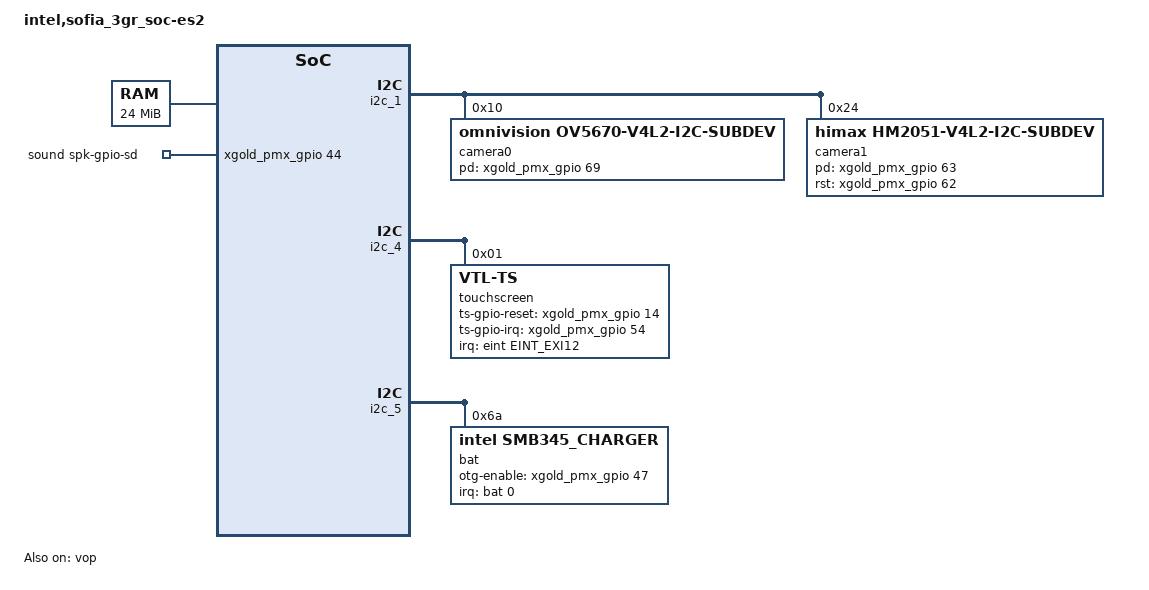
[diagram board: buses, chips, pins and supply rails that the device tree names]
/dts-v1/;
#include "xgold/sofia_3gr_soc/irq.h"
#include <dt-bindings/sofiafb/sofia_fb.h>
/ {
	#address-cells = <1>;
	#size-cells = <1>;
	model = "intel,sofia_3gr_soc-es2";
	compatible = "intel,sofia_3gr_soc-svb", "intel,xgold";

	#include "xgold/sofia_3gr_soc/sofia_3gr_soc_garnet.dtsi"
	#include "xgold/sofia_3gr_soc/irq.dtsi"
	#include "xgold/mobilevisor/mobilevisor.dtsi"
	#include "xgold/sofia_3gr_soc/clock-es1.dtsi"
	#include "xgold/sofia_3gr_soc/regulator.dtsi"
	#include "xgold/sofia_3gr_soc/device-pm-reg.dtsi"
	#include "xgold/pmic/granite.dtsi"
	#include "xgold/sofia_3gr_soc/cpufreq.dtsi"
	chosen {
	};

	aliases {
	};

	memory {
		device_type = "memory";
		reg = <0x800000 0x1800000>;
	};

	reserved-memory {
		#address-cells = <1>;
		#size-cells = <1>;
		ranges;

		/* global autoconfigured region for contiguous allocations */
		cma_default_region: region@0 {
			size = <0x08000000>;
			limit = <0x00000000>;
			linux,cma-default;
		};
		/* special region for secured processing devices */
		secured_region: region@8000000 {
			reg = <0x08000000 0x08000000>;
			no-map;
			linux,cma;
		};
	};

	vmodem {
		compatible = "intel,vmodem";
		reg = < 0x1D000000 0x02C00000 >;
	};

	ion {
		compatible = "rockchip,ion";
		#address-cells = < 1 >;
		#size-cells = < 0 >;
		rockchip,ion-heap@1 {
			compatible = "rockchip,ion-heap";
			rockchip,ion_heap = < 1 >;
			reg = < 0x00000000 0x08000000 >;
		};
		rockchip,ion-heap@3 {
			compatible = "rockchip,ion-heap";
			rockchip,ion_heap = < 3 >;
		};
	};

	backlight:agold620-backlight {
		compatible = "intel,agold620-led";
		reg = <0xE6501800 0x154
			0xE6401134 0x4>;
		reg-names = "pmu-bl", "cgu-bl";
		intel,flags-use-safe-ctrl;
		pm,class-name = "bl_class";
		pm,user-name = "bl";
		pm,state-D0 = "enable";
		pm,state-D3 = "disable";
		intel,led-k2 = <0xFF>;
		intel,led-k1max = <0xFB>;
		intel,led-k2max = <0xFFFF>;
		intel,led-up = <0x116>;
		intel,led-down = <0x200>;
		intel,led-safe = <0x12>;
		intel,bl-gpio-enable = <&xgold_pmx_gpio 71 0>;
		pinctrl-names = "default", "sleep", "inactive";
		pinctrl-0 = <&led_agold_default_pins>;
		pinctrl-1 = <&led_agold_sleep_pins>;
		pinctrl-2 = <&led_agold_inactive_pins>;
        };

#ifndef RECOVERY_KERNEL
	/*headset:headset {
		compatible = "intel,headset";
		#address-cells = < 0 >;
		reg = <0xE6501C00 0x4>;
		reg-names = "headset-registers";
		interrupts = < 0 1 >;
		interrupt-parent = < &headset>;
		#interrupt-cells = < 1 >;
		interrupt-map = <
			 0 &ag620_pmu ABB_PMU_ACD1 XGOLD_IRQ_TYPE_NONE
			 1 &ag620_pmu ABB_PMU_ACD2 XGOLD_IRQ_TYPE_NONE
			>;
		interrupt-names = "acd1", "acd2";
		io-channel-names = "ACCID_ADC";
		io-channels = < &meas 4 >;
	};*/
#endif
	fb {
		compatible = "rockchip,rockchip-fb";
		rockchip,disp-mode = <NO_DUAL>;
		rockchip,uboot-logo-on = <0>;
		rockchip,ion-drv = "rockchip";
	};

	screen {
		compatible = "rockchip,rockchip-screen";
		pm,class-name = "generic_class";
		pm,user-name = "lcd";
		pm,state-D0 = "enable";
		pm,state-D3 = "disable";
		#include "xgold/display/auo_b070atn02.dtsi"
	};

	graphics {
		compatible = "intel,graphics";
		intel,gpu-shared-mem = <0x20000000>;
		intel,dcc-fbpixelformat= "RGB888";
		intel,dcc-debug-level = <1>;
		intel,fb-api = <1>;
#ifdef RECOVERY_KERNEL
		intel,dcc-mem = < 0x00800000 >;
#else
		intel,dcc-use-fences = <1>;
		intel,dcc-mem = < 0x00400000 >;
		intel,prot-mem = < 0x08000000 0x08000000>;
#endif
	};


#ifndef RECOVERY_KERNEL
	sound {
		compatible = "intel,xgold-snd-asoc";
		intel,audio-codec = < &afe >;
		intel,pcm-audio = <&pcm_music>;
		intel,pcm-voice = <&pcm_voice>;
		intel,speech = <&speech_probe>;
		intel,jack = <&headset>;
		intel,spk-gpio-sd = <&xgold_pmx_gpio 44 0>;
	};
#endif
};

&idi_per {
	#define SOFIA_3GR_GARNET_EVB
	#include "xgold/agold620/agold620.dtsi"
};

&bat_hal {
	#define BAT_TYPE_LC 0
	#define POWER_SUPPLY_TECHNOLOGY_LION 2

	supp_batids =  < 0 BAT_TYPE_LC >;

	supp_batids-map = "standrd";

	prof-standrd = < POWER_SUPPLY_TECHNOLOGY_LION /*battery_type*/
				  1630 /*capacity*/
				  4250 /*voltage_max*/
				  82 /*chrg_term_ma*/
				  3200 /*low_batt_mv*/
				  60 /*disch_tmp_ul*/
				  0xffffffec /*disch_tmp_ll (-20)*/
				  0 /*min_temp*/
				  3 /*min_temp_restart*/
				  42 /*max_temp_restart*/ >;

	prof-standrd-cap_to_vbat_ocv = <
		3227 3386 3478 3542 3591 3628 3650 3660 3665 3668
		3671 3674 3676 3681 3687 3694 3699 3704 3709 3713
		3718 3722 3726 3729 3732 3735 3737 3740 3743 3746
		3748 3751 3753 3755 3756 3758 3760 3762 3764 3766
		3768 3770 3772 3775 3777 3779 3782 3785 3787 3790
		3793 3796 3800 3803 3806 3810 3813 3817 3821 3826
		3830 3835 3841 3847 3853 3860 3867 3874 3881 3888
		3895 3901 3908 3914 3920 3926 3933 3939 3945 3952
		3958 3964 3970 3975 3981 3987 3994 4002 4013 4025
		4036 4045 4053 4060 4067 4075 4083 4093 4102 4112
		4124 >;


	prof-standrd-ntemp_ranges = <1>;

	prof-standrd-temp_range0 = < 45 /*max_temp*/
					     4160 /*full_chrg_vol*/
					     850 /*full_chrg_cur*/
					     98 /*charging_res_cap*/
					     4160 /*maint_chrg_vol_ul*/
					     850 /*maint_chrg_cur*/ >;

	nprofiles = <1>;
};

&fuel_gauge_hal {
	sense_resistor_mohm = <20>;
	gain_error_1_uc_per_mc = <30>;
	gain_error_2_uc_per_mc = <30>;
};

&usif1 {
	pinctrl-names = "default", "sleep", "inactive";
	pinctrl-0 = <&usif1_default_pins>;
	pinctrl-1 = <&usif1_sleep_pins>;
	pinctrl-2 = <&usif1_inactive_pins>;
};
&usif2 {
	pinctrl-names = "default", "sleep", "inactive", "reset";
	pinctrl-0 = <&usif2_default_pins>;
	pinctrl-1 = <&usif2_sleep_pins>;
	pinctrl-2 = <&usif2_inactive_pins>;
	pinctrl-3 = <&usif2_reset_pins>;
};

&i2c_1 {
	pinctrl-names = "default", "sleep", "inactive";
	pinctrl-0 = <&i2c1_default_pins>;
	pinctrl-1 = <&i2c1_sleep_pins>;
	pinctrl-2 = <&i2c1_inactive_pins>;
#ifndef RECOVERY_KERNEL
	camera0: camera-module@0 {
		compatible = "omnivision,ov5670-v4l2-i2c-subdev";
		reg = < 0x10 >;
		device_type = "v4l2-i2c-subdev";

		pinctrl-names = "default", "sleep", "inactive";
		pinctrl-0 = <&cam1_default_pins>;
		pinctrl-1 = <&cam1_sleep_pins>;
		pinctrl-2 = <&cam1_inactive_pins>;

		intel,pd-gpio = <&xgold_pmx_gpio 69 0>;
		/*intel,rst-gpio = <&xgold_pmx_gpio 56 0>;*/
		/*intel,pd-gpio_1v2 = <&xgold_pmx_gpio 68 0>;*/
		intel,pd-gpio-is_active_low;
		/*intel,rst-gpio-is_active_low;*/

		pm,class-name = "generic_class";
		pm,user-name = "primcam";
		pm,state-D0 = "enable";
		pm,state-D3 = "disable";

		/* ["front","back"] */
		intel,camera-module-facing = "back";
		/* ["landscape","landscape-flipped","portrait","portrait-flipped"] */
		intel,camera-module-mounting = "landscape";
		intel,camera-module-flash-support = <1>;
		intel,camera-module-flash-exp-time = <5000>;

		/*intel,af-ctrl = <&afc0>;*/

		intel,camera-module-csi-config-0 {
			intel,csi-pixels-per-second = <0>;
			intel,csi-vc = <0>;
			intel,csi-lanes = <2>;
			intel,csi-dphy1 = <0x2014183>;
			intel,csi-dphy2 = <0x00>;
			intel,csi-ana-bandgap-bias = <3>;
		};
	};

	camera1: camera-module@1 {
		compatible = "himax,hm2051-v4l2-i2c-subdev";
		reg = < 0x24 >;
		device_type = "v4l2-i2c-subdev";

		pinctrl-names = "default", "sleep", "inactive";
		pinctrl-0 = <&cam2_default_pins>;
		pinctrl-1 = <&cam2_sleep_pins>;
		pinctrl-2 = <&cam2_inactive_pins>;

		intel,pd-gpio = <&xgold_pmx_gpio 63 0>;
		intel,pd-gpio-is_active_low;
		intel,rst-gpio = <&xgold_pmx_gpio 62 0>;
		intel,rst-gpio-is_active_low;

		pm,class-name = "generic_class";
		pm,user-name = "seccam";
		pm,state-D0 = "enable";
		pm,state-D3 = "disable";

		/* ["front","back"] */
		intel,camera-module-facing = "front";
		/* ["landscape","landscape-flipped","portrait","portrait-flipped"] */
		intel,camera-module-mounting = "landscape";

		intel,camera-module-csi-config-0 {
			intel,csi-pixels-per-second = <0>;
			intel,csi-vc = <0>;
			intel,csi-lanes = <1>;
			intel,csi-dphy1 = <0x60151A9>;
			intel,csi-dphy2 = <0x00>;
			intel,csi-ana-bandgap-bias = <3>;
		};
	};

#endif
};

&i2c_3 {
	pinctrl-names = "default", "sleep", "inactive";
	pinctrl-0 = <&i2c3_default_pins>;
	pinctrl-1 = <&i2c3_sleep_pins>;
	pinctrl-2 = <&i2c3_inactive_pins>;
};


&i2c_4 {
	pinctrl-names = "default", "sleep", "inactive";
	pinctrl-0 = <&i2c4_default_pins>;
	pinctrl-1 = <&i2c4_sleep_pins>;
	pinctrl-2 = <&i2c4_inactive_pins>;
#ifndef RECOVERY_KERNEL
	touchscreen {
		compatible = "VTL-TS";
		reg = < 0x01 >;
		interrupt-parent = <&eint>;
		interrupts = < EINT_EXI12 XGOLD_IRQ_TYPE_EDGE_FALLING >;
		pinctrl-names = "default", "sleep", "inactive";
		pinctrl-0 = <&touch_default_pins>;
		pinctrl-1 = <&touch_sleep_pins>;
		pinctrl-2 = <&touch_inactive_pins>;
		intel,ts-gpio-reset = <&xgold_pmx_gpio 14 0>;
		intel,ts-gpio-irq = <&xgold_pmx_gpio 54 0>;
		pm,class-name = "gt9xx_class";
		pm,user-name = "tp";
		pm,state-D0 = "enable";
		pm,state-D3 = "disable";
		intel,max-x = <800>;
		intel,max-y = <1280>;
	};
#endif
};

&i2c_5 {
	pinctrl-names = "default", "sleep", "inactive";
	pinctrl-0 = <&i2c5_agold_default_pins>;
	pinctrl-1 = <&i2c5_agold_sleep_pins>;
	pinctrl-2 = <&i2c5_agold_inactive_pins>;
	bat:battery {
		compatible = "intel,smb345_charger";
		reg = < 0x6a >;
		interrupts = < 0 1 >;
		interrupt-parent = < &bat>;
		#interrupt-cells = < 1 >;
		interrupt-map = < 0 &ag620_pmu ABB_PMU_CI XGOLD_IRQ_TYPE_NONE 1 &ag620_pmu ABB_PMU_CSTAT XGOLD_IRQ_TYPE_EDGE_BOTH >; /* CI */
		pinctrl-names = "default", "sleep", "inactive";
		pinctrl-0 = < &chg_agold_default_pins >;
		pinctrl-1 = < &chg_agold_sleep_pins >;
		pinctrl-2 = < &chg_agold_inactive_pins >;
		intel,otg-enable = < &xgold_pmx_gpio 47 0 >;
	};
};


#ifndef RECOVERY_KERNEL
&afe {
	pinctrl-names = "default", "sleep", "inactive";
	pinctrl-0 = <&dm_agold_default_pins>;
	pinctrl-1 = <&dm_agold_sleep_pins>;
	pinctrl-2 = <&dm_agold_inactive_pins>;
};
#endif

&sd {
	intel,tap_values = <0x0C51020 0x0C41020 0x0C41020 0x1114120 0x0C51020 0x0F50F20 0x0F50F20>;
	pinctrl-names = "default", "sleep", "inactive";
	pinctrl-0 = <&sdmmc_default_pins>;
	pinctrl-1 = <&sdmmc_sleep_pins>;
	pinctrl-2 = <&sdmmc_inactive_pins>;
};

&emmc {
	intel,tap_values = < 0x00c51021  0x006f1021   0x00c51021  0x004f1021  0x00c51021  0x00a50f11  0x00c51021 >;
	pinctrl-names = "default", "sleep", "inactive";
	pinctrl-0 = <&emmc_default_pins>;
	pinctrl-1 = <&emmc_sleep_pins>;
	pinctrl-2 = <&emmc_inactive_pins>;

};

&usb {
	pinctrl-names = "default", "sleep", "inactive";
	pinctrl-0 = <&usb_default_pins>;
	pinctrl-1 = <&usb_sleep_pins>;
	pinctrl-2 = <&usb_inactive_pins>;
};

&keypad {
	pinctrl-names = "default", "sleep", "inactive";
	pinctrl-0 = <&kp_default_pins>;
	pinctrl-1 = <&kp_sleep_pins>;
	pinctrl-2 = <&kp_inactive_pins>;
	keypad,num-rows = <9>;
	keypad,num-columns = <8>;
	keypad,rows = <3 8>;
	keypad,columns = <3 4>;
	linux,keymap = <0x03030072	/* KEY_VOLUMEDOWN */
			0x03040073	/* KEY_VOLUMEUP */
			0x08030074	/* KEY_POWER */
			0x08040066>;	/* KEY_HOME */
};

&vop {
	status = "okay";
	rockchip,fb-win-map = <FB_DEFAULT_ORDER>;
};

#ifndef RECOVERY_KERNEL
&cif {
	intel,camera-modules-attached = <&camera0 &camera1>;
};
#endif

#include "xgold/sofia_3gr_soc/pinctrl-sf_3gr-svb-garnet.dtsi"
#include "xgold/agold620/pinctrl-sf_3gr-svb-garnet.dtsi"
